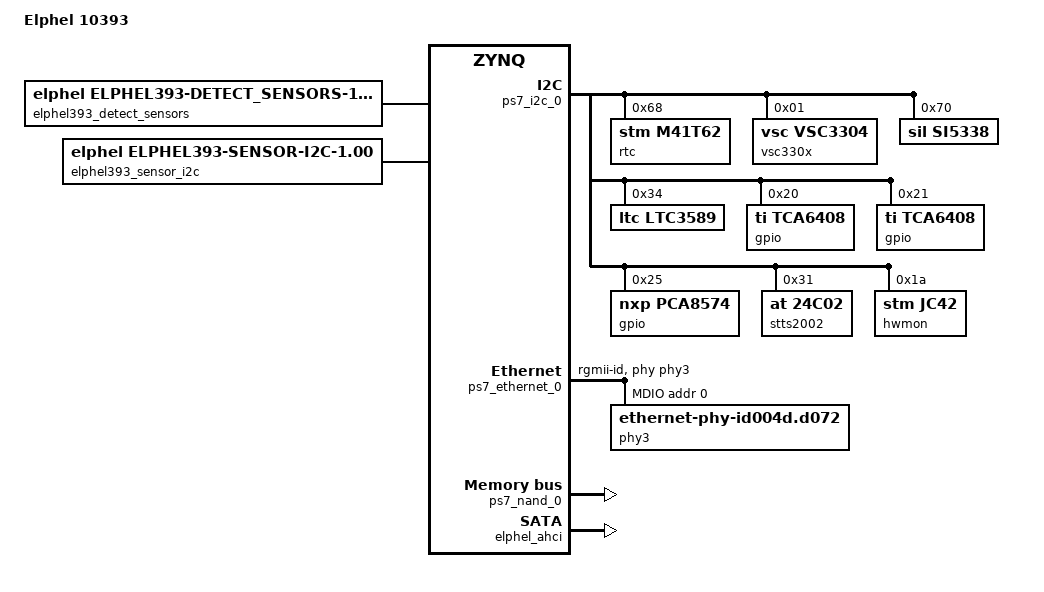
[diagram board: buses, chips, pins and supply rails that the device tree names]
/* welcome to elphel393 device tree */
/include/ "elphel393-zynq-base.dtsi"
/include/ "elphel393-bootargs.dtsi"

/ {
	model = "Elphel 10393";

	ps7_axi_interconnect_0: amba@0 {

		ps7_i2c_0: ps7-i2c@e0004000 {
			/* bus-id = <0>;*/
			/* i2c-clk = <400000>;*/
			rtc@68 {
				compatible = "stm,m41t62";
				reg = <0x68>;
			};

			vsc330x@1 {
				compatible = "vsc,vsc3304";
				reg = <0x01>;
				vsc330x,configuration_name = "elphel393: from external";
				/* configuration below is for external eSATA host accessing SSD. Will chnage
					* when the SATA controller code will be operational
					* TODO: specify optimal drive strength, pre-emphasis, etc.
					* All parameters are exported to sysfs for run-time modification
					*/
				vsc330x,configuration_data=<
				0x11080101 /*page 0x11, register 0x08, data=0x1 (inverted input), write enabled mask=0x1 */
				0x11090001
				0x110a0101
				0x110b0101
				0x110e0001
				0x110f0101

				0x230a0b1f /* set output mode for port 10 as non-inverted, forwarding OOB enabled */
				0x230b151f /* set output mode for port 11 as     inverted, forwarding OOB enabled */
				0x230c151f
				0x230d0b1f
				0x230e151f
				0x230f151f

				0xff750101 /* freeze configuration to enable simultaneous modification */
				0x110e0002 /* enable channel 14 input */
				0x11090002 /* enable channel  9 input */

				0x000b091f /* connect port 11 output to input 9 */
				0x000c0e1f /* connect port 12 output to input 14 */
				0xff750001 /* un-freeze configuration to apply connection modifications */
				>;
			};

			si5338@70 {
				compatible = "sil,si5338";
				reg = <0x70>;
				si5338,init="always"; /* initialize PLL if chip was not programmed, wait for lock. Other option is 'if off' */
				/* low-level masked register writes, may be used to load frequency plan */
				/*si5338,configuration_data=< 0x1ffcf0 >;*/ /* just for testing: write data 0xfc with write enable mask 0xf0 to register 0x01f */
				si5338,in_frequency3= < 25000000>; /* 25MHz on input 3 (other inputs are '12",'4','56' and '12xo' */
				/* PLL may be set either directly (pll_freq_fract,pll_freq_int) or to match some output (pll_by_out_fract, pll_by_out_int)
					* _int suffix forces to find integer divisors, _fract - allows fractional ones */
				si5338,pll_by_out_int=<150000000>;  /* 150Mhz May have 3 values: integer, nominator and denominator */
				si5338,out3_freq_int= <150000000>;  /* 150Mhz. May have 3 values: integer, nominator and denominator */
				si5338,out2_select= "in3/2/32";  /* connect out2 to IN3, divided by 2 (input stage) and then by 32 (output stage)*/
				si5338,2V5_LVPECL=  <1 2>; /* set output standard for channels 1 and 2 */
				si5338,1V5_HSTL_A+= <0>;   /* set output standard for channel 0, only A output is used (noninverted) */
				si5338,1V8_LVDS=    <3>;
				/* Disabled state for outputs:  */
				si5338,dis_hi-z=    <0 1 2 3>; /* Disabled state for listed outputs, also possible: "dis_hi-z","dis_low","dis_high","dis_always_on" */
				si5338,output_en=   < 3>; /* Which outputs should be initially enabled */
				si5338,spread_spectrum_3= <1 50 31500>; /* Set spread spectrum for channel3 : enabled, 0.5%, 31.5KHz */
				si5338,out0_freq_int= <15000000>;  /* 15Mhz to output 0 */
				si5338,spread_spectrum_0= <1 500 31500>; /* Set spread spectrum for channel0 : enabled, 5%, 31.5KHz - high value, for testing */
			};

			ltc3589@34 {
				compatible = "ltc,ltc3589";
				reg = <0x34>;
			};

			gpio@20{
				compatible = "ti,tca6408";
				reg = <0x20>;
			};
			gpio@21{
				compatible = "ti,tca6408";
				reg = <0x21>;
			};
			gpio@25{
				compatible = "nxp,pca8574";
				reg = <0x25>;
			};
			/* Use 'spd' instead of '24c02' for read only access*/
			stts2002@31 {
				compatible = "at,24c02";
				reg = <0x31>;
			};
			hwmon@1a { /*hwmon@19*/
				compatible = "stm,jc42";
				reg = <0x1a>;
			};
		};

		ps7_ethernet_0: ps7-ethernet@e000b000 {
			local-mac-address = [00 0e 64 10 00 00];
			phy-handle = <&phy3>;
			phy-mode = "rgmii-id";
			mdio {
				#address-cells = <1>;
				#size-cells = <0>;
				phy3: phy@3 {
					/* Atheros 8035 */
					compatible = "ethernet-phy-id004d.d072";
					/* compatible = "ethernet-phy-ieee802.3-c22";*/
					device_type = "ethernet-phy";
					/* rev0 - revB: reg = <0x3> */
					/* revC:        reg = <0x0> */
					reg = <0x0>;
				};
			};
		};

		ps7_smcc_0: ps7-smcc@e000e000 {
			ps7_nand_0: ps7-nand@e1000000 {
				compatible = "arm,pl353-nand-r2p1";
				reg = < 0xe1000000 0x1000000 >;
				/*arm,nand-clk-freq-hz = <0x5f5e100>;*/
				arm,nand-width = <0x8>;
				arm,nand-cycle-t0 = <0x4>;
				arm,nand-cycle-t1 = <0x4>;
				arm,nand-cycle-t2 = <0x1>;
				arm,nand-cycle-t3 = <0x2>;
				arm,nand-cycle-t4 = <0x2>;
				arm,nand-cycle-t5 = <0x2>;
				arm,nand-cycle-t6 = <0x4>;
				#address-cells = <0x1>;
				#size-cells = <0x1>;
				partition@0 {
					label = "u-boot-spl";
					reg = <0x0 0x100000>;/*1MB for backup spl image(s)*/
				};
				partition@1 {
					label = "u-boot";
					reg = <0x100000 0x400000>;/*4MB*/
				};
				partition@2 {
					label = "device-tree";
					reg = <0x500000 0x100000>;/*1MB*/
				};
				partition@3 {
					label = "kernel";
					reg = <0x600000 0x1000000>;/*16MB*/
				};
				partition@4 {
					label = "rootfs";
					reg = <0x1600000 0x10000000>;/*256MB*/
				};
			} ;
		} ;

		elphel_ahci: elphel-ahci@80000000 {
			compatible = "elphel,elphel-ahci";
			interrupt-parent = <&ps7_scugic_0>;
			interrupts = <0x0 0x1d 0x4>; /* interrupt number (middle of 3) is by 0x20 less, than shown as ID in TRM */
			reg = <0x80000000 0x1000>;
			clb_offs = <0x800>;
			fb_offs = <0xc00>;
		};
	};

	elphel393_pwr: elphel393-pwr@0 {
		compatible = "elphel,elphel393-pwr-1.00";
		elphel393_pwr,simulate=          <0>;
		elphel393_pwr,i2c_chips=         <0x20 0x21 0x25 0x34>;
		elphel393_pwr,vp15.r1=           <357000>;
		elphel393_pwr,vp15.r2=           <287000>;
		elphel393_pwr,vcc_sens01.r1=     <787000>;
		elphel393_pwr,vcc_sens01.r2=     <287000>;
		elphel393_pwr,vcc_sens23.r1=     <787000>;
		elphel393_pwr,vcc_sens23.r2=     <287000>;
		elphel393_pwr,vp5.r1=            <523000>;
		elphel393_pwr,vp5.r2=            <100000>;
		elphel393_pwr,vldo18.r1=         <357000>;
		elphel393_pwr,vldo18.r2=         <287000>;
		elphel393_pwr,channels_disable= "vcc_sens23 vp33sens23 vcc_sens01 vp33sens01";
		elphel393_pwr,pinstrapped_oven=  <1>;
		elphel393_pwr,vcc_sens01_mv=     <2800>; /* set sensor intreface voltage to 2.8V */
		elphel393_pwr,channels_enable=  "vp5";
                /* high byte - enable bits, low byte - value */
		elphel393_pwr,10389-init-value=  <0x100>;
/*		elphel393_pwr,channels_enable=  "vcc_sens01 vp33sens01"; */
	} ;

	elphel393_mem: elphel393-mem@0 {
		compatible = "elphel,elphel393-mem-1.00";
		/*memsize = <25600>;*/
		memsize = <76800>; /* sum of sizes from line1 and line2 must be <= memsize*/
		memsize-partitions-circbuf = <16384 16384 16384 16384>; /* line 1 */
		/* memsize-partitions-raw = <16384 16384 16384 16384>; /* line 2 */
		memsize-partitions-raw = <0 0 0 0>; /* line 2 */
		memsize-circbuf-start-offset = <0x100000>;
		h2d_size = <1024>;
		d2h_size = <1024>;
		bidir_size = <1024>;
		histograms_size = <1024>;
		logger_size = <1024>;
	} ;

	elphel393_init: elphel393-init {
		compatible = "elphel,elphel393-init-1.00";
	} ;

	elphel393_circbuf: elphel393-circbuf@0 {
		compatible = "elphel,elphel393-circbuf-1.00";
		/* set this to "disable" to disable drivers */
		status = "okay";
		interrupt-parent = <&ps7_scugic_0>;
		 /* interrupt number (middle of 3) is by 0x20 less, than shown as ID in TRM */
		interrupts =      <0x0 0x34 0x4>, <0x0 0x35 0x4>, <0x0 0x36 0x4>, <0x0 0x37 0x4>,
		                  <0x0 0x38 0x4>, <0x0 0x39 0x4>, <0x0 0x3A 0x4>, <0x0 0x3B 0x4>;
/*        reg = <0x80000000 0x1000>; */
		interrupt-names = "frame_sync_irq_0", "frame_sync_irq_1", "frame_sync_irq_2", "frame_sync_irq_3",
		                  "compr_irq_0", "compr_irq_1", "compr_irq_2", "compr_irq_3";
	};

    elphel393_logger: elphel393-logger@0 {
        compatible = "elphel,elphel393-logger-1.00";
        /* set this to "disable" to disable drivers */
        status = "okay";
        interrupt-parent = <&ps7_scugic_0>;
         /* interrupt number (middle of 3) is by 0x20 less, than shown as ID in TRM */
        interrupts =      <0x0 0x21 0x4>, <0x0 0x22 0x4>, <0x0 0x23 0x4>, <0x0 0x24 0x4>;
/*        reg = <0x80000000 0x1000>; */
        interrupt-names = "mult_saxi_0", "mult_saxi_1", "mult_saxi_2", "mult_saxi_3";
    };

    elphel393_videomem: elphel393-videomem@0 {
        compatible = "elphel,elphel393-videomem-1.00";
        /* set this to "disable" to disable drivers */
        status = "okay";
        interrupt-parent = <&ps7_scugic_0>;
         /* interrupt number (middle of 3) is by 0x20 less, than shown as ID in TRM */
        interrupts =      <0x0 0x20 0x4>;
/*        reg = <0x80000000 0x1000>; */
        interrupt-names = "membridge_irq";
        /* maximal dimesions that use all 512M memory for 4 channels. May be changed when doing processing*/
        frame_full_width = <8192>; /* in bytes, will be transformed to bursts (16 bytes). 1 memory page is 2048 bytes (128 bursts) */
        frame_height     = <8192>; /* in pixel lines */
        frames_in_buffer = <2>;    /* Each channel has this number of frames in buffer */

        frame_start_chn0 =     <0x00000000>;      /* Channel 0 frame start (in bytes) */
        frame_start_chn1 =     <0x08000000>;      /* Channel 1 frame start (in bytes) */
        frame_start_chn2 =     <0x10000000>;      /* Channel 2 frame start (in bytes) */
        frame_start_chn3 =     <0x18000000>;      /* Channel 3 frame start (in bytes) */
        frame_full_width_chn0 =      <8192>;      /* Channel 0 frame full width (in bytes). 1 memory page is 2048 bytes (128 bursts) */
        frame_full_width_chn1 =      <8192>;      /* Channel 1 frame full width (in bytes). 1 memory page is 2048 bytes (128 bursts) */
        frame_full_width_chn2 =      <8192>;      /* Channel 2 frame full width (in bytes). 1 memory page is 2048 bytes (128 bursts) */
        frame_full_width_chn3 =      <8192>;      /* Channel 3 frame full width (in bytes). 1 memory page is 2048 bytes (128 bursts) */
        frame_height_chn0 =          <8192>;      /* Channel 0 maximal frame height in pixel lines */
        frame_height_chn1 =          <8192>;      /* Channel 1 maximal frame height in pixel lines */
        frame_height_chn2 =          <8192>;      /* Channel 2 maximal frame height in pixel lines */
        frame_height_chn3 =          <8192>;      /* Channel 3 maximal frame height in pixel lines */
        frames_in_buffer_chn0 =         <2>;      /* Number of frames in channel 0 buffer */
        frames_in_buffer_chn1 =         <2>;      /* Number of frames in channel 1 buffer */
        frames_in_buffer_chn2 =         <2>;      /* Number of frames in channel 2 buffer */
        frames_in_buffer_chn3 =         <2>;      /* Number of frames in channel 3 buffer */
    };

    elphel393_detect_sensors: elphel393-detect_sensors@0 {
        compatible = "elphel,elphel393-detect_sensors-1.00";
        elphel393-detect_sensors,port-mux = "none none none none"; /* "none", "detect" or "mux10359" */
        elphel393-detect_sensors,sensors =  "lepton35", // Line per port, may contain up to 4 sensors (3 with 10359)
                                            "lepton35",
                                            "lepton35",
                                            "lepton35";
    };

    elphel393_sensor_i2c: elphel393-sensor-i2c@0 {
                compatible = "elphel,elphel393-sensor-i2c-1.00";
                /* Add known devices: name, slave address (7-bit), number of address bytes, number of data bytes, SCL frequency (kHz) */
                elphel393-sensor-i2c,i2c_devices = "mt9f002        0x10 2 2 500",
                                                   "mt9p006        0x48 1 2 500",
                                                   "el10359        0x08 1 2 500",
                                                   "el10359_32     0x08 1 4 500",
                                                   "pca9500_eeprom 0x50 1 1 100",
                                                   "sensor_eeprom  0x50 1 1 100",
                                                   "sensor_temp    0x18 1 2 100",
                                                   "cy22393        0x69 1 1 100",
                                                   "lepton35       0x2a 2 2 500";
    } ;

    framepars_operations: elphel393-framepars@0 {
        compatible = "elphel,elphel393-framepars-1.00";
    };

    histograms_operations: elphel393-histograms@0 {
        compatible = "elphel,elphel393-histograms-1.00";
    };

    gamma_tables_operations: elphel393-gamma_tables@0 {
        compatible = "elphel,elphel393-gamma_tables-1.00";
    };

    elphel393_mt9x001: elphel393-mt9x001@0 {
        compatible = "elphel,elphel393-mt9x001-1.00";
    };

    elphel393_mt9f002: elphel393-mt9f002@0 {
        compatible = "elphel,elphel393-mt9f002-1.00";
    };

    elphel393_lepton: elphel393-lepton@0 {
        compatible = "elphel,elphel393-lepton-1.00";
    };

    elphel393_clock10359:elphel393-clock10359@0{
        compatible = "elphel,elphel393_clock10359-1.00";
    };

    klogger_393: klogger-393@0 {
        compatible = "elphel,klogger-393-1.00";
        klogger-393,buffer_size = <1048576>;
    } ;
/* i2c driver for the extension boards, such as imu, gps, etc */
    elphel393_ext_i2c:elphel393-ext-i2c@0{
        compatible =    "elphel,elphel393-ext-i2c-1.00";
        time_scl_high =     <3>; /*  SCL high duration (us) */
        time_scl_low =      <3>; /*  SCL low duration (us) */
        time_slave2master = <2>; /*  slave -> master delay (us) */
        time_master2slave = <2>; /*  master -> slave delay (us) */
        filter_sda =        <7>; /*  filter SDA read data by testing multiple times - currently just zero/non zero  */
        filter_scl =        <7>; /* filter SCL read data by testing multiple times - currently just zero/non zero  */
    };

};
